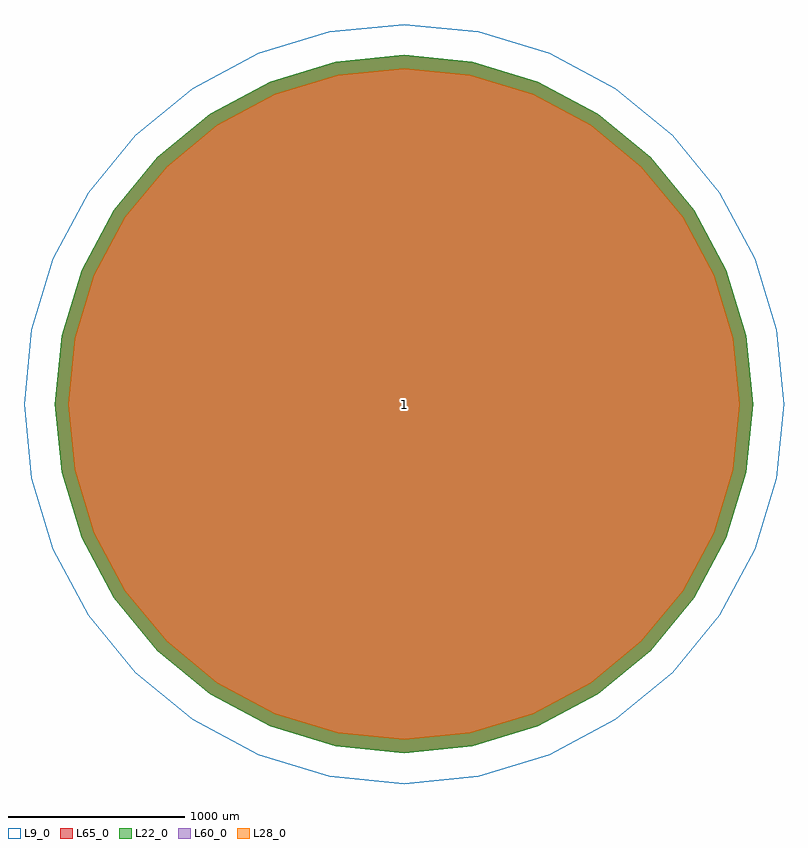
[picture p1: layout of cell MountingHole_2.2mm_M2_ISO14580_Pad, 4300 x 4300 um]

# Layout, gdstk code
import gdstk
lib = gdstk.Library(unit=1e-6, precision=1e-09)
def P(c, l, *ps):  # polygons
    for p in ps: c.add(gdstk.Polygon(p, *l))
L9_0 = (9, 0)
L22_0 = (22, 0)
L28_0 = (28, 0)
L60_0 = (60, 0)
L65_0 = (65, 0)

mountinghole_2_2mm_m2_is = lib.new_cell('MountingHole_2.2mm_M2_ISO14580_Pad')
P(mountinghole_2_2mm_m2_is, L9_0, [(2150,0),(2108.688,419.444),(1986.341,822.769),(1787.66,1194.476),(1520.28,1520.28),(1194.476,1787.66),(822.769,1986.341),(419.444,2108.688),(0,2150),(-419.444,2108.688),(-822.769,1986.341),(-1194.476,1787.66),(-1520.28,1520.28),(-1787.66,1194.476),(-1986.341,822.769),(-2108.688,419.444),(-2150,0),(-2108.688,-419.444),(-1986.341,-822.769),(-1787.66,-1194.476),(-1520.28,-1520.28),(-1194.476,-1787.66),(-822.769,-1986.341),(-419.444,-2108.688),(0,-2150),(419.444,-2108.688),(822.769,-1986.341),(1194.476,-1787.66),(1520.28,-1520.28),(1787.66,-1194.476),(1986.341,-822.769),(2108.688,-419.444)],
  [(1900,0),(1863.492,370.672),(1755.371,727.099),(1579.792,1055.583),(1343.503,1343.503),(1055.583,1579.792),(727.099,1755.371),(370.672,1863.492),(0,1900),(-370.672,1863.492),(-727.099,1755.371),(-1055.583,1579.792),(-1343.503,1343.503),(-1579.792,1055.583),(-1755.371,727.099),(-1863.492,370.672),(-1900,0),(-1863.492,-370.672),(-1755.371,-727.099),(-1579.792,-1055.583),(-1343.503,-1343.503),(-1055.583,-1579.792),(-727.099,-1755.371),(-370.672,-1863.492),(0,-1900),(370.672,-1863.492),(727.099,-1755.371),(1055.583,-1579.792),(1343.503,-1343.503),(1579.792,-1055.583),(1755.371,-727.099),(1863.492,-370.672)])
P(mountinghole_2_2mm_m2_is, L22_0, [(1975,0),(1937.051,385.303),(1824.662,755.8),(1642.152,1097.251),(1396.536,1396.536),(1097.251,1642.152),(755.8,1824.662),(385.303,1937.051),(0,1975),(-385.303,1937.051),(-755.8,1824.662),(-1097.251,1642.152),(-1396.536,1396.536),(-1642.152,1097.251),(-1824.662,755.8),(-1937.051,385.303),(-1975,0),(-1937.051,-385.303),(-1824.662,-755.8),(-1642.152,-1097.251),(-1396.536,-1396.536),(-1097.251,-1642.152),(-755.8,-1824.662),(-385.303,-1937.051),(0,-1975),(385.303,-1937.051),(755.8,-1824.662),(1097.251,-1642.152),(1396.536,-1396.536),(1642.152,-1097.251),(1824.662,-755.8),(1937.051,-385.303)])
P(mountinghole_2_2mm_m2_is, L28_0, [(1900,0),(1863.492,370.672),(1755.371,727.099),(1579.792,1055.583),(1343.503,1343.503),(1055.583,1579.792),(727.099,1755.371),(370.672,1863.492),(0,1900),(-370.672,1863.492),(-727.099,1755.371),(-1055.583,1579.792),(-1343.503,1343.503),(-1579.792,1055.583),(-1755.371,727.099),(-1863.492,370.672),(-1900,0),(-1863.492,-370.672),(-1755.371,-727.099),(-1579.792,-1055.583),(-1343.503,-1343.503),(-1055.583,-1579.792),(-727.099,-1755.371),(-370.672,-1863.492),(0,-1900),(370.672,-1863.492),(727.099,-1755.371),(1055.583,-1579.792),(1343.503,-1343.503),(1579.792,-1055.583),(1755.371,-727.099),(1863.492,-370.672)])
P(mountinghole_2_2mm_m2_is, L60_0, [(1900,0),(1863.492,370.672),(1755.371,727.099),(1579.792,1055.583),(1343.503,1343.503),(1055.583,1579.792),(727.099,1755.371),(370.672,1863.492),(0,1900),(-370.672,1863.492),(-727.099,1755.371),(-1055.583,1579.792),(-1343.503,1343.503),(-1579.792,1055.583),(-1755.371,727.099),(-1863.492,370.672),(-1900,0),(-1863.492,-370.672),(-1755.371,-727.099),(-1579.792,-1055.583),(-1343.503,-1343.503),(-1055.583,-1579.792),(-727.099,-1755.371),(-370.672,-1863.492),(0,-1900),(370.672,-1863.492),(727.099,-1755.371),(1055.583,-1579.792),(1343.503,-1343.503),(1579.792,-1055.583),(1755.371,-727.099),(1863.492,-370.672)])
P(mountinghole_2_2mm_m2_is, L65_0, [(1975,0),(1937.051,385.303),(1824.662,755.8),(1642.152,1097.251),(1396.536,1396.536),(1097.251,1642.152),(755.8,1824.662),(385.303,1937.051),(0,1975),(-385.303,1937.051),(-755.8,1824.662),(-1097.251,1642.152),(-1396.536,1396.536),(-1642.152,1097.251),(-1824.662,755.8),(-1937.051,385.303),(-1975,0),(-1937.051,-385.303),(-1824.662,-755.8),(-1642.152,-1097.251),(-1396.536,-1396.536),(-1097.251,-1642.152),(-755.8,-1824.662),(-385.303,-1937.051),(0,-1975),(385.303,-1937.051),(755.8,-1824.662),(1097.251,-1642.152),(1396.536,-1396.536),(1642.152,-1097.251),(1824.662,-755.8),(1937.051,-385.303)])
mountinghole_2_2mm_m2_is.add(gdstk.Label('1', (0,0), layer=28, texttype=0))
mountinghole_2_2mm_m2_is.add(gdstk.Label('type', (0,-2900), layer=9, texttype=0))
mountinghole_2_2mm_m2_is.add(gdstk.Label('devicename', (0,2900), layer=9, texttype=0))

lib.write_gds('MountingHole_2.2mm_M2_ISO14580_Pad.gds')
